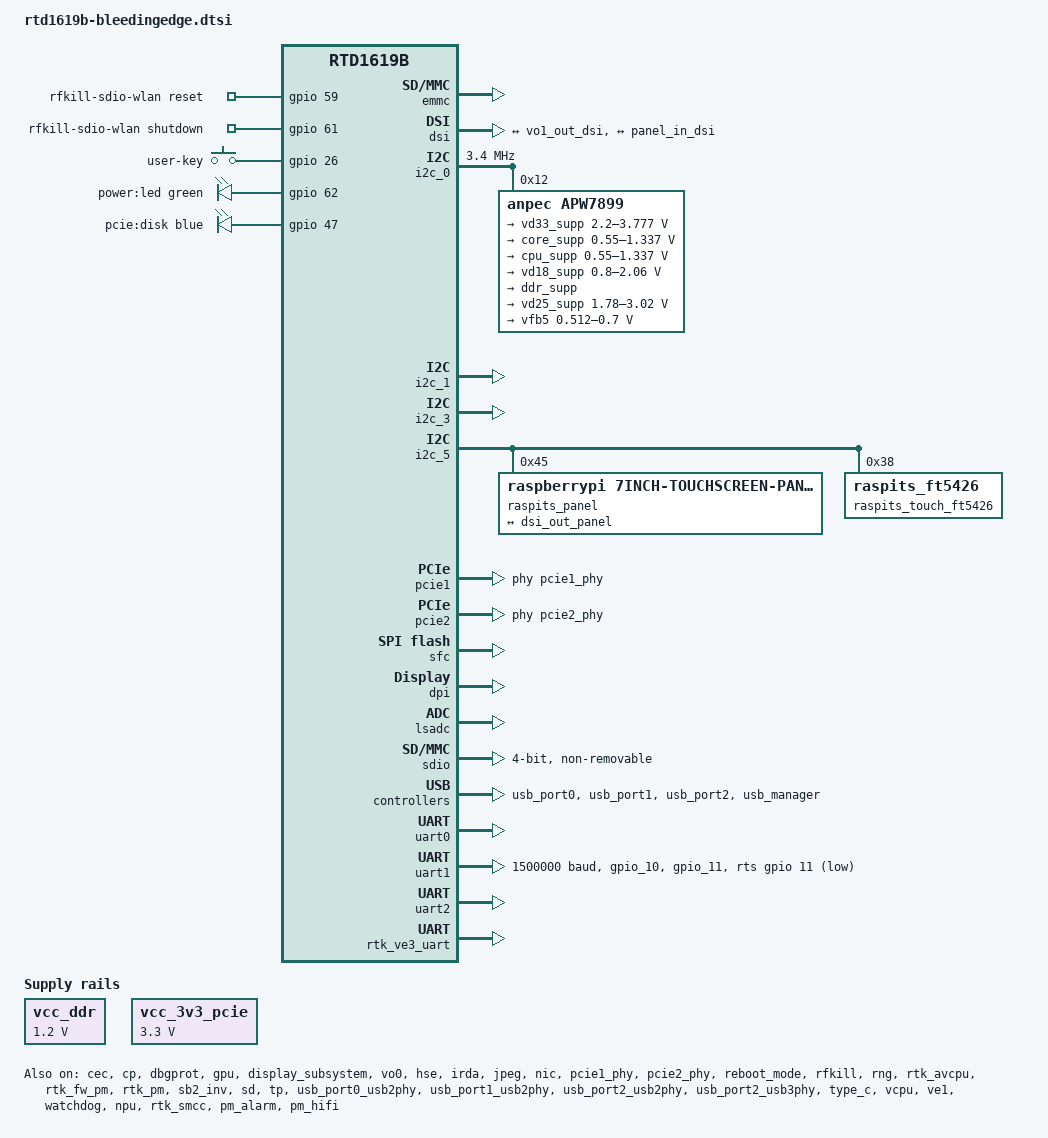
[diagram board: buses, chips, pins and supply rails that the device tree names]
// SPDX-License-Identifier: (GPL-2.0-or-later OR BSD-2-Clause)
/*
 * Copyright (c) 2020 Realtek Semiconductor Corp.
 */

/dts-v1/;

#include <dt-bindings/regulator/anpec,apw888x.h>
#include <dt-bindings/soc/realtek,pm.h>
#include <dt-bindings/thermal/thermal.h>
#include <dt-bindings/input/input.h>
#include <dt-bindings/leds/common.h>
#include "rtd16xxb.dtsi"
#include "rtd16xxb-etn-wol-pattern.dtsi"

/ {
	chosen {
		stdout-path = "serial0:460800n8";
		bootargs = "earlycon=uart8250,mmio32,0x98007800 console=ttyS0,460800 8250.nr_uarts=3 init=/init loglevel=4 max_loop=64 loop.max_part=7";
	};

	aliases {
		ethernet = &nic;
		serial0 = &uart0;
		serial1 = &uart1;
		serial2 = &uart2;
		mmc0 = &emmc;
		mmc1 = &sd;
	};

	vcc_ddr: vcc1v2-ddr {
		compatible = "regulator-fixed";
		regulator-name = "vcc1v2-ddr";
		regulator-min-microvolt = <1200000>;
		regulator-max-microvolt = <1200000>;
	};

	vcc_3v3_pcie: vcc-3v3-pcie {
		status = "okay";
		compatible = "regulator-fixed";
		regulator-name = "vcc_3v3_pcie";
		regulator-boot-on;
		regulator-min-microvolt = <3300000>;
		regulator-max-microvolt = <3300000>;
		enable-active-high;
		regulator-always-on;	
	};

	rfkill_wlan: rfkill-wifi {
		compatible = "rfkill-gpio";
		label = "rfkill-sdio-wlan";
		rfkill-name = "wlan";
		reset-gpios = <&gpio 59 GPIO_ACTIVE_HIGH>; // WIFI_WAKE_HOST， 模组WiFi使能引脚，根据实际原理图配置
		shutdown-gpios = <&gpio 61 GPIO_ACTIVE_HIGH>; // WIFI_REG_ON， 电源控制引脚，根据实际原理图配置
	};

	gpio-keys {
		compatible = "gpio-keys";
		status = "okay";

		user_key: user-key {
			label = "user-key";
			linux,code = <KEY_POWER>;
			gpios = <&gpio 26 GPIO_ACTIVE_HIGH>;
			pinctrl-names = "default";
			pinctrl-0 = <&user_key_pin>;
		};
	};

	board_leds: board-leds {
		compatible = "gpio-leds";
		status = "okay";

		pwr_led: pwr-led {
			label = "power:led";
			color = <LED_COLOR_ID_GREEN>;
			function = LED_FUNCTION_POWER;
			gpios = <&gpio 62 GPIO_ACTIVE_HIGH>;
			linux,default-trigger = "heartbeat";
			default-state = "on";
		};

		ssd_led: ssd-led {
			label = "pcie:disk";
			color = <LED_COLOR_ID_BLUE>;
			gpios = <&gpio 47 GPIO_ACTIVE_HIGH>;
			linux,default-trigger = "disk-activity";
			function = LED_FUNCTION_DISK;
		};
	};
};

&cec {
	status = "okay";
};

&cp {
	status = "okay";
};

&cpu0 {
	cpu-supply = <&cpu_supp>;
	operating-points-v2 = <&cpu_opps>;
	#cooling-cells = <2>;
};

&cpu1 {
	cpu-supply = <&cpu_supp>;
	operating-points-v2 = <&cpu_opps>;
	#cooling-cells = <2>;
};

&cpu2 {
	cpu-supply = <&cpu_supp>;
	operating-points-v2 = <&cpu_opps>;
	#cooling-cells = <2>;
};

&cpu3 {
	cpu-supply = <&cpu_supp>;
	operating-points-v2 = <&cpu_opps>;
	#cooling-cells = <2>;
};

&cpu_dvfs {
	fss,opp-updated = <0>;
	fss,volt-correct = <25000>;
	fss,volt-step = <25000>;
	fss,volt-min = <775000>;
	fss,volt-max = <1087500>;

	bsv,opp-updated = <0>;
	bsv,volt-correct = <137500 150000>;
	bsv,volt-step = <25000>;
	bsv,volt-min = <800000>;
	bsv,volt-max = <1087500>;

	cpu_opps: opp-table-cpu {
		compatible = "operating-points-v2";
		opp-shared;
		opp1000: opp-1000000000 {
			opp-hz = /bits/ 64 <1000000000>;
			opp-microvolt = <800000>;
			opp-microvolt-bsv = <0>;
			opp-microvolt-fss = <0>;
			clock-latency-ns = <150000>;
			status = "disabled";
		};

		opp1100: opp-1100000000 {
			opp-hz = /bits/ 64 <1100000000>;
			opp-microvolt = <825000>;
			opp-microvolt-fss = <0>;
			opp-microvolt-bsv = <0>;
			clock-latency-ns = <150000>;
			status = "okay";
		};

		opp1200: opp-1200000000 {
			opp-hz = /bits/ 64 <1200000000>;
			opp-microvolt = <850000>;
			opp-microvolt-fss = <0>;
			opp-microvolt-bsv = <0>;
			clock-latency-ns = <150000>;
			status = "okay";
		};

		opp1300: opp-1300000000 {
			opp-hz = /bits/ 64 <1300000000>;
			opp-microvolt = <875000>;
			opp-microvolt-fss = <0>;
			opp-microvolt-bsv = <0>;
			clock-latency-ns = <150000>;
			status = "okay";
		};

		opp1400: opp-1400000000 {
			opp-hz = /bits/ 64 <1400000000>;
			opp-microvolt = <900000>;
			opp-microvolt-fss = <0>;
			opp-microvolt-bsv = <0>;
			clock-latency-ns = <150000>;
			status = "okay";
		};

		opp1500: opp-1500000000 {
			opp-hz = /bits/ 64 <1500000000>;
			opp-microvolt = <937500>;
			opp-microvolt-fss = <0>;
			opp-microvolt-bsv = <0>;
			clock-latency-ns = <150000>;
			status = "okay";
		};

		opp1600: opp-1600000000 {
			opp-hz = /bits/ 64 <1600000000>;
			opp-microvolt = <987500>;
			opp-microvolt-fss = <0>;
			opp-microvolt-bsv = <0>;
			clock-latency-ns = <150000>;
			status = "okay";
		};

		opp1700: opp-1700000000 {
			opp-hz = /bits/ 64 <1700000000>;
			opp-microvolt = <1037500>;
			opp-microvolt-fss = <0>;
			opp-microvolt-bsv = <0>;
			clock-latency-ns = <150000>;
			opp-suspend;
			status = "okay";
		};
	};
};

&cpu_thermal {
	trips {
		cpu_alert0: cpu-alert0 {
			temperature = <90000>;
			hysteresis = <0>;
			type = "passive";
		};

		cpu_alert1: cpu-alert1 {
			temperature = <105000>;
			hysteresis = <0>;
			type = "passive";
		};
	};

	cooling-maps {
		cpu-map0 {
			trip = <&cpu_alert0>;
			cooling-device = <&cpu0 2 3>;
			contribution = <70>;
		};

		cpu-map1 {
			trip = <&cpu_alert1>;
			cooling-device = <&cpu0 4 THERMAL_NO_LIMIT>;
			contribution = <70>;
		};
	};
};

&cpu_tm {
	status = "okay";
};

&dbgprot {
	status = "okay";
};

&emmc {
	status = "okay";
};

&gpio {
	status = "okay";
	gpio-line-names =
		/* GPIO_0-3 */
		"", "", "", "",
		/* GPIO_4-7 */
		"", "", "", "",
		/* GPIO_8-11 */
		"", "", "", "",
		/* GPIO_12-15 */
		"", "", "", "",
		/* GPIO_16-19 */
		"", "", "PIN_21", "PIN_23",
		/* GPIO_20-23 */
		"PIN_24", "PIN_26", "PIN_37", "",
		/* GPIO_24-27 */
		"", "", "", "",
		/* GPIO_28-31 */
		"", "PIN_3", "", "PIN_19",
		/* GPIO_32-35 */
		"", "", "", "",
		/* GPIO_36-39 */
		"", "", "", "",
		/* GPIO_40-43 */
		"", "", "", "",
		/* GPIO_44-47 */
		"", "", "PIN_5", "",
		/* GPIO_48-51 */
		"", "", "PIN_36", "",
		/* GPIO_52-55 */
		"", "", "", "",
		/* GPIO_56-59 */
		"", "", "", "",
		/* GPIO_60-63 */
		"", "", "", "",
		/* GPIO_64-67 */
		"", "", "PIN_35", "PIN_33",
		/* GPIO_68-71 */
		"PIN_31", "PIN_29", "PIN_15", "PIN_13",
		/* GPIO_72-75 */
		"PIN_11", "PIN_7", "PIN_18", "PIN_16",
		/* GPIO_76-79 */
		"PIN_12", "", "", "",
		/* GPIO_80-81 */
		"", "";
};

&gpu {
	operating-points-v2 = <&gpu_opps>;
	status = "okay";

	gpu_opps: opp-table-gpu {
		compatible = "operating-points-v2",
			     "operating-points-v2-mali";

		opp-450000000 {
			opp-hz = /bits/ 64 <450000000>;
			opp-hz-real = /bits/ 64 <450000000>;
			opp-microvolt = <800000>;
			opp-suspend;
		};

		opp-550000000 {
			opp-hz = /bits/ 64 <550000000>;
			opp-hz-real = /bits/ 64 <550000000>;
			opp-microvolt = <800000>;
		};

		opp-650000000 {
			opp-hz = /bits/ 64 <650000000>;
			opp-hz-real = /bits/ 64 <650000000>;
			opp-microvolt = <800000>;
		};

		opp-702000000 {
			opp-hz = /bits/ 64 <702000000>;
			opp-hz-real = /bits/ 64 <702000000>;
			opp-microvolt = <800000>;
		};
	};
};

&display_subsystem {
	ports = <&vo0_out>;
	status = "okay";
};

&vo0 {
	status = "okay";
};

&vo1 {
	status = "disabled";
	vo1_out: port {
		vo1_out_dsi: endpoint {
			remote-endpoint = <&dsi_in_vo1>;
		};
	};
};

&vo2 {
	status = "disabled";
};

&hdmi {
	hdmi5v-gpios = <&gpio 5 GPIO_ACTIVE_HIGH>;
	ext-flags = <0x0>;
};

&dsi {
	status = "okay";

	ports {
		dsi_in: port@0 {
			reg = <0>;
			dsi_in_vo1: endpoint {
				reg = <0>;
				remote-endpoint = <&vo1_out_dsi>;
			};
		};

		dsi_out: port@1 {
			reg = <1>;
			dsi_out_panel: endpoint {
				reg = <0>;
				remote-endpoint = <&panel_in_dsi>;
			};
		};
	};
};

&hse {
	status = "okay";
};

&i2c_0 {
	clock-frequency = <3400000>;
	pinctrl-0 = <&i2c_pins_0>;
	status = "okay";

	apw7899: apw7899@12 {
		compatible = "anpec,apw7899";
		reg = <0x12>;

		regulators {
			compatible = "anpec,apw8886-regulator";

			vd33_supp: dc1 {
				regulator-name = "vd33";
				regulator-min-microvolt = <2200000>;
				regulator-max-microvolt = <3777500>;

				regulator-boot-on;
				regulator-always-on;
				regulator-initial-mode = <APW888X_DC_MODE_AUTO>;
				regulator-state-mem {
					regulator-on-in-suspend;
					regulator-suspend-microvolt = <3300000>;
				};
			};

			core_supp: dc2 {
				regulator-name = "core";
				regulator-min-microvolt = <550000>;
				regulator-max-microvolt = <1337500>;

				regulator-boot-on;
				regulator-always-on;
				regulator-initial-mode = <APW888X_DC_MODE_AUTO>;
				regulator-state-mem {
					regulator-on-in-suspend;
					regulator-suspend-microvolt = <800000>;
				};
			};

			cpu_supp: dc3 {
				regulator-name = "cpudvs";
				regulator-min-microvolt = <550000>;
				regulator-max-microvolt = <1337500>;

				regulator-boot-on;
				regulator-always-on;
				regulator-initial-mode = <APW888X_DC_MODE_AUTO>;
				regulator-ramp-delay = <625>;
				apw888x-disabled-in-shutdown;

				regulator-state-mem {
					regulator-off-in-suspend;
					regulator-changeable-in-suspend;
				};
			};

			vd18_supp: dc4 {
				regulator-name = "vd18";
				regulator-min-microvolt = <800000>;
				regulator-max-microvolt = <2060000>;

				regulator-boot-on;
				regulator-always-on;
				regulator-initial-mode = <APW888X_DC_MODE_AUTO>;
				regulator-state-mem {
					regulator-on-in-suspend;
				};
			};

			ddr_supp: dc5 {
				regulator-name = "ddr";
				regulator-boot-on;
				regulator-always-on;
				regulator-initial-mode = <APW888X_DC_MODE_AUTO>;
				vin-supply = <&vcc_ddr>;
				apw888x-disabled-in-shutdown;

				regulator-state-mem {
					regulator-on-in-suspend;
				};
			};

			vd25_supp: ldo1 {
				regulator-name = "vd25";
				regulator-min-microvolt = <1780000>;
				regulator-max-microvolt = <3020000>;

				regulator-boot-on;
				regulator-always-on;
				regulator-initial-mode = <APW888X_LDO_MODE_NORMAL>;
				regulator-state-mem {
					regulator-on-in-suspend;
				};
			};

			vfb5 {
				regulator-name = "vfb5";
				regulator-min-microvolt = <512500>;
				regulator-max-microvolt = <700000>;

				regulator-boot-on;
				regulator-always-on;
				regulator-state-mem {
					regulator-on-in-suspend;
				};
			};
		};
	};
};

&i2c_1 {
	status = "okay";
};

&i2c_3 {
	status = "okay";
};

&i2c_5 {
	status = "okay";
	#address-cells = <1>;
	#size-cells = <0>;

	raspits_panel: raspits-panel@45 {
		compatible = "raspberrypi,7inch-touchscreen-panel";
		reg = <0x45>;

		port {
			panel_in_dsi: endpoint {
				remote-endpoint = <&dsi_out_panel>;
			};
		};
	};

	raspits_touch_ft5426: raspits-touch-ft5426@38 {
		compatible = "raspits_ft5426";
		reg = <0x38>;
	};

};

&irda {
	wakeup-key = <116>,<148>;
	status = "okay";
};

&jpeg {
	status = "okay";
};

&nic {
	status = "okay";
	pinctrl-names = "default";
	pinctrl-0 = <&nic_led_pins>;
};

/* PCIe M Key */
&pcie1 {
	status = "okay";
	perst-gpios = <&gpio 6 GPIO_ACTIVE_HIGH>;
	phy-names = "pcie-phy";
	phys = <&pcie1_phy>;
};

&pcie1_phy {
	status = "okay";
};

/* X1.0: CF express slot 
 * X1.1: Mini PCIe slot
*/

&pcie2 {
	status = "okay";
	perst-gpios = <&gpio 65 GPIO_ACTIVE_HIGH>;
	phy-names = "pcie-phy";
	phys = <&pcie2_phy>;
};

&pcie2_phy {
	status = "okay";
};

&sfc {
	status = "okay";
	max-freq = <50000000>;
	#address-cells = <1>;
	#size-cells = <0>;
	pinctrl-names = "default";
	pinctrl-0 = <&spi_pins_loc_spi>;
};

&pwm {
	status = "disabled";
};

&pwr_ve1 {
	assigned-clock-rates = <540000000>;
};

&dpi {
	status = "okay";

	zq-cal {
		status = "okay";
	};
};

&reboot_mode {
	status = "okay";
};

&rfkill { 
	status = "okay";
	voltage-config = <1>;
	rfkill-gpios = <&gpio 57 GPIO_ACTIVE_HIGH>;
};

&lsadc {
	status = "okay";
};

&rng {
	status = "okay";
};

&rtk_avcpu {
	status = "okay";
};

&rtk_fw_pm {
	status = "okay";
};

&rtk_pm {
	wakeup-flags = <NORMAL_MODE>;
	wakeup-gpio-list = <2 GPIO_WAKEUP_ENABLE GPIO_WAKEUP_ACTIVE_LOW>,
			   <4 GPIO_WAKEUP_ENABLE GPIO_WAKEUP_ACTIVE_LOW>;
	wakeup-timer = <0>;
	dco = <DCO_DISABLE>;
	rtk-bt = <255>; /* for Realtek bluetooth only */
	status = "okay";
};

&sb2_inv {
	status = "okay";
};

&sd {
	status = "okay";
};

&sdio {
	bus-width = <4>;
	non-removable;
	cap-sd-highspeed;
	cap-mmc-highspeed;
	sd-uhs-sdr12;
	sd-uhs-sdr25;
	sd-uhs-sdr50;
	sd-uhs-sdr104;
	keep-power-in-suspend;
	enable-sdio-wakeup;
	no-sd;
	no-mmc;
	wifi-rst-gpios = <&gpio 61 GPIO_ACTIVE_HIGH>;
	status = "okay";
};

&sound {
	status = "okay";
};

&tp {
	status = "okay";
};

&usb_port0_usb2phy {
	status = "okay";
};

&usb_port0 {
	realtek,power-gpio = <&gpio 48 GPIO_ACTIVE_HIGH>;
	status = "okay";
};

&usb_port1_usb2phy {
	status = "okay";
};

&usb_port1 {
	realtek,power-gpio = <&gpio 48 GPIO_ACTIVE_HIGH>;
	status = "okay";
};

&usb_port2_usb2phy {
	status = "okay";
};

&usb_port2_usb3phy {
	status = "okay";
};

&usb_port2 {
	realtek,power-gpio = <&gpio 49 GPIO_ACTIVE_LOW>;
	status = "okay";
};

&type_c {
	realtek,plug-side-switch-gpio = <&gpio 53 GPIO_ACTIVE_HIGH>;
	status = "okay";
};

/* debug console (J1) */
&uart0 {
	status = "okay";
};

/* bluetooth */
&uart1 {
	status = "okay";
	cts-gpios = <&gpio 10 GPIO_ACTIVE_LOW>;
	rts-gpios = <&gpio 11 GPIO_ACTIVE_LOW>;
	pinctrl-names = "default";
	pinctrl-0 = <&uart1_pins &uart1_cts_rts>;
	snps,uart-16550-compatible;
	current-speed = <1500000>;
};

&uart2 {
	status = "okay";
};

&usb_manager {
	status = "okay";
};

&vcpu {
	status = "okay";
};

&ve3vcpu {
	status = "disabled";
};

&ve1 {
	status = "okay";
};

&watchdog {
	status = "okay";
};

&npu {
	status = "okay";
};

&sata_phy {
	status = "disabled";
};

&sata_phy0 {
	tx-swing = <(-2)>, <(1)>, <(0)>; /* tx swing adjust sample : <gen1>, <gen2>, <gen3> */
	/delete-property/ tx-swing;
	tx-emphasis = <3>, <(-2)>, <(-3)>; /* tx emphasis adjust sample : <gen1>, <gen2>, <gen3> */
	/delete-property/ tx-emphasis;
	status = "disabled";
};

&sata_phy1 {
	status = "disabled";
};

&ahci_sata {
	status = "disabled";
};

&sata_port0 {
	status = "disabled";
};

&sata_port1 {
	status = "disabled";
};

&rtk_smcc {
	status = "okay";
};

&pm_alarm {
	status = "okay";
};

&rtk_ve3_uart {
	status = "okay";
};

&pm_hifi {
	hifi-supply = <&cpu_supp>;
	status = "okay";
};

&pinctrl {
	uart1_cts_rts: uart1-cts-rts {
		pins = "gpio_10", "gpio_11";
		function = "gpio";
		bias-pull-down;
  	};

	keys {
		user_key_pin: user-key-pin {
			pins = "gpio_26";
			function = "gpio";
			bias-pull-up;
		};
	};

	leds {
		nic_led_pins: nic-led-pins {
			pins = "gpio_15", "gpio_23";
			function = "etn_led";
		};
	};	
};
